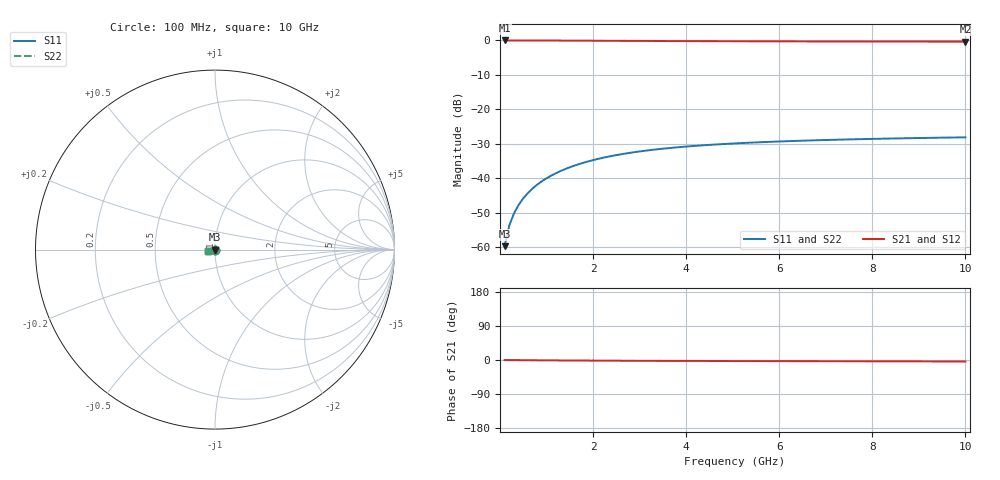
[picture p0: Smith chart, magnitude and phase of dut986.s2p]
! Touchstone file exported from HFSS 2024.1.0
!  File:  C:/UserFiles/LocalFiles/RDL_TSV_Batchsim/temp_TSV1_986_1779952444.aedt
!  Generated:  03:18:24 PM May 28, 2026
!  Design:  TSV1
!  Project:  temp_TSV1_986_1779952444
!  Setup:  Setup1
!  Solution:  Sweep
! Variables:
!  dtsv = 10.78um
!  hbump = 3um
!  htsv = 59.23um
!  lrdl = 252.1521522um
!  p = 40
!  p1 = 42.44um
!  t = 500um
!  trdl = 3um
!  wrdl = 24.89489489um
# GHz S MA R 50.000000
! Terminal data exported
! Port[1] = TSV22_T1
! Port[2] = TSV22_T2
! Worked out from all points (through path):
!   100 points, 100 MHz to 10 GHz, reference 50 ohm
!   highest |S21| = 0.00 dB at 100 MHz (marker M1); lowest = -0.3 dB at 10 GHz (marker M2)
!   lowest |S11| = -59.8 dB at 100 MHz (marker M3), VSWR 1.00, Z = 50 - j0.103 ohm
!   |S11| at or under -10 dB: start of sweep to end of sweep
!   |S22| runs from -59.8 to -28.1 dB; largest |S21 - S12| = 1.2e-15
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0.1  0.001029 -85.6  0.9999 -0.1  0.9999 -0.1  0.001029 -85.6
! Gamma 0 0 0 0
! Port Impedance 50 0 50 0
0.2  0.002048 -90.2  0.9998 -0.2  0.9998 -0.2  0.002048 -90.2
0.3  0.003066 -92.8  0.9996 -0.3  0.9996 -0.3  0.003066 -92.8
0.4  0.004079 -94.8  0.9994 -0.4  0.9994 -0.4  0.004079 -94.8
0.5  0.005087 -96.7  0.9992 -0.5  0.9992 -0.5  0.005087 -96.7
0.6  0.006085 -98.4  0.9988 -0.6  0.9988 -0.6  0.006085 -98.4
0.7  0.007073 -100.1  0.9985 -0.6  0.9985 -0.6  0.007073 -100.1
0.8  0.008047 -101.7  0.9981 -0.7  0.9981 -0.7  0.008047 -101.7
0.9  0.009008 -103.2  0.9976 -0.8  0.9976 -0.8  0.009008 -103.2
1.1  0.01088 -106.2  0.9966 -1.0  0.9966 -1.0  0.01088 -106.2
1.4  0.01354 -110.5  0.9949 -1.2  0.9949 -1.2  0.01354 -110.5
1.6  0.01521 -113.2  0.9936 -1.3  0.9936 -1.3  0.01521 -113.2
1.8  0.01679 -115.8  0.9923 -1.5  0.9923 -1.5  0.01679 -115.8
2.1  0.019 -119.5  0.9903 -1.7  0.9903 -1.7  0.019 -119.5
2.5  0.02162 -124.1  0.9875 -1.9  0.9875 -1.9  0.02162 -124.1
2.9  0.02391 -128.2  0.9849 -2.1  0.9849 -2.1  0.02391 -128.2
3.4  0.02635 -132.9  0.9818 -2.3  0.9818 -2.3  0.02635 -132.9
4.2  0.02947 -139.2  0.9774 -2.5  0.9774 -2.5  0.02947 -139.2
5.1  0.0321 -145.1  0.9733 -2.8  0.9733 -2.8  0.0321 -145.1
6.7  0.03535 -153.2  0.9679 -3.2  0.9679 -3.2  0.03535 -153.2
8.4  0.03765 -159.9  0.9639 -3.5  0.9639 -3.5  0.03765 -159.9
10  0.03917 -165.0  0.9613 -3.9  0.9613 -3.9  0.03917 -165.0
